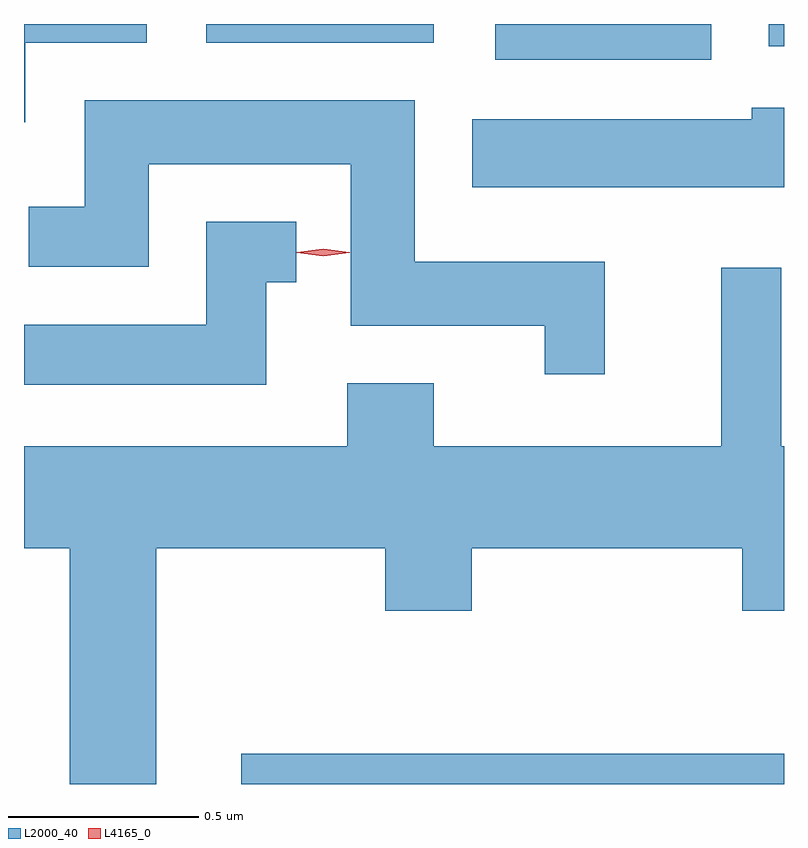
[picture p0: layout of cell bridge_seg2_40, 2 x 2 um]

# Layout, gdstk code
import gdstk
lib = gdstk.Library(unit=1e-6, precision=1e-09)
def R(c, l, rs):  # rectangles x0, y0, x1, y1
    for r in rs: c.add(gdstk.rectangle(r[:2], r[2:], *l))
def P(c, l, *ps):  # polygons
    for p in ps: c.add(gdstk.Polygon(p, *l))
L2000_40 = (2000, 40)
L4165_0 = (4165, 0)

bridge_seg2_40 = lib.new_cell('bridge_seg2_40')
R(bridge_seg2_40, L2000_40, [(1339.093,1061.015,1340.521,1061.094), (1339.761,1062.921,1340.329,1063.015), (1340.481,1062.956,1340.521,1063.015), (1339.001,1062.966,1339.599,1063.015)])
P(bridge_seg2_40, L2000_40, [(1338.524,1062.966),(1338.844,1062.966),(1338.844,1063.015),(1338.521,1063.015),(1338.521,1062.756),(1338.524,1062.756)],
  [(1340.049,1062.389),(1339.549,1062.389),(1339.549,1062.814),(1338.681,1062.814),(1338.681,1062.534),(1338.533,1062.534),(1338.533,1062.376),(1338.849,1062.376),(1338.849,1062.646),(1339.381,1062.646),(1339.381,1062.221),(1339.891,1062.221),(1339.891,1062.093),(1340.049,1062.093)],
  [(1340.521,1062.794),(1340.436,1062.794),(1340.436,1062.764),(1339.701,1062.764),(1339.701,1062.586),(1340.521,1062.586)],
  [(1339.159,1062.336),(1339.238,1062.336),(1339.238,1062.494),(1339.001,1062.494),(1339.001,1062.224),(1338.521,1062.224),(1338.521,1062.066),(1339.159,1062.066)],
  [(1338.869,1061.636),(1339.471,1061.636),(1339.471,1061.471),(1339.699,1061.471),(1339.699,1061.636),(1340.411,1061.636),(1340.411,1061.471),(1340.521,1061.471),(1340.521,1061.904),(1340.514,1061.904),(1340.514,1062.373),(1340.356,1062.373),(1340.356,1061.904),(1339.599,1061.904),(1339.599,1062.069),(1339.371,1062.069),(1339.371,1061.904),(1338.521,1061.904),(1338.521,1061.636),(1338.641,1061.636),(1338.641,1061.015),(1338.869,1061.015)])
P(bridge_seg2_40, L4165_0, [(1339.308,1062.404),(1339.239,1062.413),(1339.239,1062.414),(1339.239,1062.414),(1339.308,1062.424),(1339.378,1062.414),(1339.378,1062.414),(1339.378,1062.413)])

lib.write_gds('bridge_seg2_40.gds')
